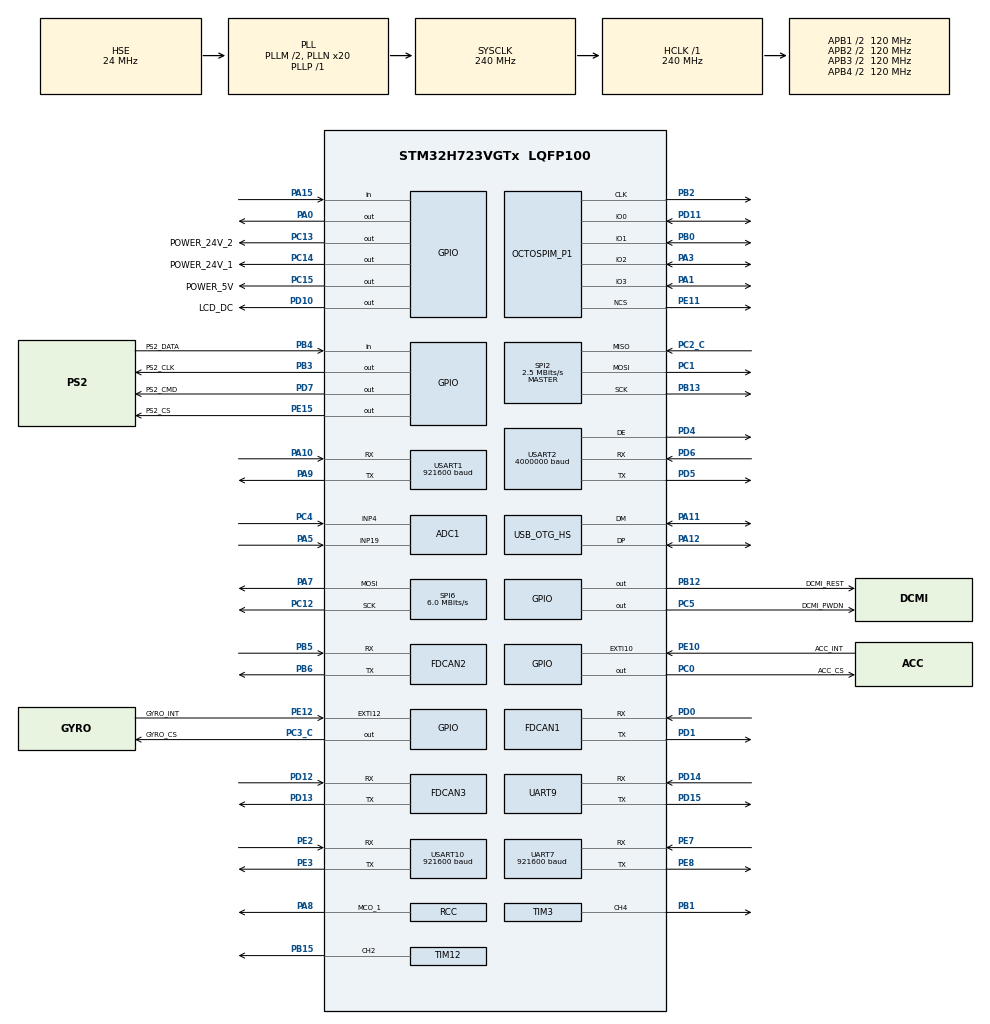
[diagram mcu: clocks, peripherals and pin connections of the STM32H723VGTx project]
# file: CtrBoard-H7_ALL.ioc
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ADC1.Channel-0\#ChannelRegularConversion=ADC_CHANNEL_4
ADC1.Channel-1\#ChannelRegularConversion=ADC_CHANNEL_19
ADC1.ClockPrescaler=ADC_CLOCK_ASYNC_DIV64
ADC1.ContinuousConvMode=ENABLE
ADC1.ConversionDataManagement=ADC_CONVERSIONDATA_DMA_CIRCULAR
ADC1.NbrOfConversion=2
ADC1.NbrOfConversionFlag=1
ADC1.OffsetNumber-0\#ChannelRegularConversion=ADC_OFFSET_NONE
ADC1.OffsetNumber-1\#ChannelRegularConversion=ADC_OFFSET_NONE
ADC1.OffsetSignedSaturation-0\#ChannelRegularConversion=DISABLE
ADC1.OffsetSignedSaturation-1\#ChannelRegularConversion=DISABLE
ADC1.Rank-0\#ChannelRegularConversion=1
ADC1.Rank-1\#ChannelRegularConversion=2
ADC1.SamplingTime-0\#ChannelRegularConversion=ADC_SAMPLETIME_32CYCLES_5
ADC1.SamplingTime-1\#ChannelRegularConversion=ADC_SAMPLETIME_32CYCLES_5
ADC1.master=1
CORTEX_M7.BaseAddress-Cortex_Memory_Protection_Unit_Region0_Settings=0x24000000
CORTEX_M7.CPU_DCache=Disabled
CORTEX_M7.CPU_ICache=Disabled
CORTEX_M7.Enable-Cortex_Memory_Protection_Unit_Region0_Settings=MPU_REGION_ENABLE
CORTEX_M7.IsBufferable-Cortex_Memory_Protection_Unit_Region0_Settings=MPU_ACCESS_BUFFERABLE
CORTEX_M7.IsCacheable-Cortex_Memory_Protection_Unit_Region0_Settings=MPU_ACCESS_CACHEABLE
CORTEX_M7.MPU_Control=__NULL
CORTEX_M7.Size-Cortex_Memory_Protection_Unit_Region0_Settings=MPU_REGION_SIZE_512B
CORTEX_M7.TypeExtField-Cortex_Memory_Protection_Unit_Region0_Settings=MPU_TEX_LEVEL1
Dma.ADC1.0.Direction=DMA_PERIPH_TO_MEMORY
Dma.ADC1.0.EventEnable=DISABLE
Dma.ADC1.0.FIFOMode=DMA_FIFOMODE_DISABLE
Dma.ADC1.0.Instance=DMA1_Stream1
Dma.ADC1.0.MemDataAlignment=DMA_MDATAALIGN_HALFWORD
Dma.ADC1.0.MemInc=DMA_MINC_ENABLE
Dma.ADC1.0.Mode=DMA_CIRCULAR
Dma.ADC1.0.PeriphDataAlignment=DMA_PDATAALIGN_HALFWORD
Dma.ADC1.0.PeriphInc=DMA_PINC_DISABLE
Dma.ADC1.0.Polarity=HAL_DMAMUX_REQ_GEN_RISING
Dma.ADC1.0.Priority=DMA_PRIORITY_LOW
Dma.ADC1.0.RequestNumber=1
Dma.ADC1.0.SignalID=NONE
Dma.ADC1.0.SyncEnable=DISABLE
Dma.ADC1.0.SyncPolarity=HAL_DMAMUX_SYNC_NO_EVENT
Dma.ADC1.0.SyncRequestNumber=1
Dma.ADC1.0.SyncSignalID=NONE
Dma.Request0=ADC1
Dma.Request1=USART2_TX
Dma.Request2=USART2_RX
Dma.USART2_RX.2.Direction=DMA_PERIPH_TO_MEMORY
Dma.USART2_RX.2.EventEnable=DISABLE
Dma.USART2_RX.2.FIFOMode=DMA_FIFOMODE_DISABLE
Dma.USART2_RX.2.Instance=DMA1_Stream2
Dma.USART2_RX.2.MemDataAlignment=DMA_MDATAALIGN_BYTE
Dma.USART2_RX.2.MemInc=DMA_MINC_ENABLE
Dma.USART2_RX.2.Mode=DMA_CIRCULAR
Dma.USART2_RX.2.PeriphDataAlignment=DMA_PDATAALIGN_BYTE
Dma.USART2_RX.2.PeriphInc=DMA_PINC_DISABLE
Dma.USART2_RX.2.Polarity=HAL_DMAMUX_REQ_GEN_RISING
Dma.USART2_RX.2.Priority=DMA_PRIORITY_VERY_HIGH
Dma.USART2_RX.2.RequestNumber=1
Dma.USART2_RX.2.SignalID=NONE
Dma.USART2_RX.2.SyncEnable=DISABLE
Dma.USART2_RX.2.SyncPolarity=HAL_DMAMUX_SYNC_NO_EVENT
Dma.USART2_RX.2.SyncRequestNumber=1
Dma.USART2_RX.2.SyncSignalID=NONE
Dma.USART2_TX.1.Direction=DMA_MEMORY_TO_PERIPH
Dma.USART2_TX.1.EventEnable=DISABLE
Dma.USART2_TX.1.FIFOMode=DMA_FIFOMODE_DISABLE
Dma.USART2_TX.1.Instance=DMA1_Stream0
Dma.USART2_TX.1.MemDataAlignment=DMA_MDATAALIGN_BYTE
Dma.USART2_TX.1.MemInc=DMA_MINC_ENABLE
Dma.USART2_TX.1.Mode=DMA_NORMAL
Dma.USART2_TX.1.PeriphDataAlignment=DMA_PDATAALIGN_BYTE
Dma.USART2_TX.1.PeriphInc=DMA_PINC_DISABLE
Dma.USART2_TX.1.Polarity=HAL_DMAMUX_REQ_GEN_RISING
Dma.USART2_TX.1.Priority=DMA_PRIORITY_VERY_HIGH
Dma.USART2_TX.1.RequestNumber=1
Dma.USART2_TX.1.SignalID=NONE
Dma.USART2_TX.1.SyncEnable=DISABLE
Dma.USART2_TX.1.SyncPolarity=HAL_DMAMUX_SYNC_NO_EVENT
Dma.USART2_TX.1.SyncRequestNumber=1
Dma.USART2_TX.1.SyncSignalID=NONE
FDCAN1.AutoRetransmission=DISABLE
FDCAN1.CalculateBaudRateNominal=1000000
FDCAN1.CalculateTimeBitNominal=1000
FDCAN1.CalculateTimeQuantumNominal=12.5
FDCAN1.DataPrescaler=3
FDCAN1.DataSyncJumpWidth=8
FDCAN1.DataTimeSeg1=31
FDCAN1.DataTimeSeg2=8
FDCAN1.ExtFiltersNbr=1
FDCAN1.NominalPrescaler=1
FDCAN1.NominalSyncJumpWidth=8
FDCAN1.NominalTimeSeg1=59
FDCAN1.NominalTimeSeg2=20
FDCAN1.ProtocolException=DISABLE
FDCAN1.RxBuffersNbr=0
FDCAN1.RxFifo0ElmtsNbr=32
FDCAN1.RxFifo1ElmtsNbr=32
FDCAN1.StdFiltersNbr=0
FDCAN1.TxBuffersNbr=0
FDCAN1.TxEventsNbr=0
FDCAN1.TxFifoQueueElmtsNbr=32
FDCAN2.CalculateBaudRateNominal=666666
FDCAN2.CalculateTimeBitNominal=1500
FDCAN2.CalculateTimeQuantumNominal=300.0
FDCAN2.MessageRAMOffset=0x406
FDCAN2.NominalPrescaler=24
FDCAN2.RxFifo0ElmtsNbr=32
FDCAN2.StdFiltersNbr=1
FDCAN2.TxFifoQueueElmtsNbr=32
FDCAN3.CalculateBaudRateNominal=1000000
FDCAN3.CalculateTimeBitNominal=1000
FDCAN3.CalculateTimeQuantumNominal=12.5
FDCAN3.DataPrescaler=3
FDCAN3.DataSyncJumpWidth=8
FDCAN3.DataTimeSeg1=31
FDCAN3.DataTimeSeg2=8
FDCAN3.ExtFiltersNbr=1
FDCAN3.MessageRAMOffset=0
FDCAN3.NominalPrescaler=1
FDCAN3.NominalSyncJumpWidth=8
FDCAN3.NominalTimeSeg1=59
FDCAN3.NominalTimeSeg2=20
FDCAN3.RxFifo0ElmtsNbr=32
FDCAN3.RxFifo1ElmtsNbr=32
FDCAN3.StdFiltersNbr=0
FDCAN3.TxFifoQueueElmtsNbr=32
FREERTOS.INCLUDE_eTaskGetState=1
FREERTOS.INCLUDE_uxTaskGetStackHighWaterMark=1
FREERTOS.INCLUDE_vTaskDelayUntil=1
FREERTOS.INCLUDE_xQueueGetMutexHolder=1
FREERTOS.INCLUDE_xTaskGetCurrentTaskHandle=1
FREERTOS.INCLUDE_xTimerPendFunctionCall=1
FREERTOS.Tasks01=defaultTask,0,128,StartDefaultTask,Default,NULL,Dynamic,NULL,NULL;SafeMonitorTask,2,128,SafeMonitorTask_Entry,As weak,NULL,Static,SafeMonitorBuffer,SafeMonitorControlBlock;LcdTask,0,256,LcdTask_Entry,As weak,NULL,Static,LcdTaskBuffer,LcdTaskControlBlock;ImuTask,0,2048,ImuTask_Entry,As weak,NULL,Static,ImuTaskBuffer,ImuTaskControlBlock;FunTest,-1,128,FunTest_Entry,As weak,NULL,Static,FunTestBuffer,FunTestControlBlock;MotorCommTask,2,4096,MotorCommTask_Entry,As weak,NULL,Static,MotorCommTaskBuffer,MotorCommTaskControlBlock;RgbTask,0,128,RgbTask_Entry,As weak,NULL,Static,RgbTaskBuffer,RgbTaskControlBlock;KinematicsTask,2,4096,KinematicsTask_Entry,As weak,NULL,Static,KinematicsTaskBuffer,KinematicsTaskControlBlock
FREERTOS.configENABLE_FPU=1
FREERTOS.configUSE_COUNTING_SEMAPHORES=1
FREERTOS.configUSE_RECURSIVE_MUTEXES=1
FREERTOS.configUSE_TIMERS=1
FREERTOS.configUSE_TRACE_FACILITY=1
Mcu.Family=STM32H7
Mcu.Name=STM32H723VGTx
Mcu.Package=LQFP100
NVIC.DMA1_Stream0_IRQn=true\:5\:0\:false\:false\:true\:false\:false\:true\:true
NVIC.DMA1_Stream1_IRQn=true\:5\:0\:false\:false\:true\:true\:false\:true\:true
NVIC.DMA1_Stream2_IRQn=true\:5\:0\:false\:false\:true\:true\:false\:true\:true
NVIC.FDCAN1_IT0_IRQn=true\:5\:0\:false\:false\:true\:true\:true\:true\:true
NVIC.FDCAN1_IT1_IRQn=true\:5\:0\:false\:false\:true\:true\:true\:true\:true
NVIC.FDCAN2_IT0_IRQn=true\:5\:0\:false\:false\:true\:true\:true\:true\:true
NVIC.FDCAN2_IT1_IRQn=true\:5\:0\:false\:false\:true\:true\:true\:true\:true
NVIC.FDCAN3_IT0_IRQn=true\:5\:0\:false\:false\:true\:true\:true\:true\:true
NVIC.FDCAN3_IT1_IRQn=true\:5\:0\:false\:false\:true\:true\:true\:true\:true
NVIC.OTG_HS_IRQn=true\:5\:0\:false\:false\:true\:true\:false\:true\:true
NVIC.PriorityGroup=NVIC_PRIORITYGROUP_4
NVIC.TIM23_IRQn=true\:15\:0\:false\:false\:true\:false\:false\:true\:true
NVIC.TimeBase=TIM23_IRQn
NVIC.TimeBaseIP=TIM23
NVIC.UART7_IRQn=true\:5\:0\:true\:false\:true\:false\:true\:true\:true
NVIC.USART10_IRQn=true\:5\:0\:true\:false\:true\:false\:true\:true\:true
NVIC.USART1_IRQn=true\:5\:0\:true\:false\:true\:false\:true\:true\:true
NVIC.USART2_IRQn=true\:5\:0\:false\:false\:true\:true\:true\:true\:true
OCTOSPI2.ClockMode=HAL_OSPI_CLOCK_MODE_3
OCTOSPI2.ClockPrescaler=3
OCTOSPI2.DeviceSize=23
OCTOSPI2.DeviceType=SPI_DEVICE_FLASH
OCTOSPI2.FifoThreshold=8
OCTOSPI2.SampleShifting=HAL_OSPI_SAMPLE_SHIFTING_HALFCYCLE
PA0.GPIO_Speed=GPIO_SPEED_FREQ_VERY_HIGH
PA0.Signal=GPIO_Output
PA1.Mode=OCTOSPI2_IOL_Port1L
PA1.Signal=OCTOSPIM_P1_IO3
PA10.Mode=Asynchronous
PA10.Signal=USART1_RX
PA11.Mode=Device_Only_FS
PA11.Signal=USB_OTG_HS_DM
PA12.Mode=Device_Only_FS
PA12.Signal=USB_OTG_HS_DP
PA13(JTMS/SWDIO).Mode=Serial_Wire
PA13(JTMS/SWDIO).Signal=DEBUG_JTMS-SWDIO
PA14(JTCK/SWCLK).Mode=Serial_Wire
PA14(JTCK/SWCLK).Signal=DEBUG_JTCK-SWCLK
PA15(JTDI).Signal=GPIO_Input
PA3.Mode=OCTOSPI2_IOL_Port1L
PA3.Signal=OCTOSPIM_P1_IO2
PA5.Signal=ADCx_INP19
PA7.Mode=TX_Only_Simplex_Unidirect_Master
PA7.Signal=SPI6_MOSI
PA8.Mode=Clock-out-1
PA8.Signal=RCC_MCO_1
PA9.Mode=Asynchronous
PA9.Signal=USART1_TX
PB0.Mode=OCTOSPI2_IOL_Port1L
PB0.Signal=OCTOSPIM_P1_IO1
PB1.Signal=S_TIM3_CH4
PB12.GPIO_Label=DCMI_REST
PB12.GPIO_PuPd=GPIO_PULLUP
PB12.GPIO_Speed=GPIO_SPEED_FREQ_VERY_HIGH
PB12.PinState=GPIO_PIN_SET
PB12.Signal=GPIO_Output
PB13.GPIO_Speed=GPIO_SPEED_FREQ_VERY_HIGH
PB13.Mode=Full_Duplex_Master
PB13.Signal=SPI2_SCK
PB15.Signal=S_TIM12_CH2
PB2.Mode=O2_P1_CLK
PB2.Signal=OCTOSPIM_P1_CLK
PB3(JTDO/TRACESWO).GPIO_Label=PS2_CLK
PB3(JTDO/TRACESWO).GPIO_PuPd=GPIO_PULLUP
PB3(JTDO/TRACESWO).GPIO_Speed=GPIO_SPEED_FREQ_VERY_HIGH
PB3(JTDO/TRACESWO).Signal=GPIO_Output
PB4(NJTRST).GPIO_Label=PS2_DATA
PB4(NJTRST).GPIO_PuPd=GPIO_PULLDOWN
PB4(NJTRST).Signal=GPIO_Input
PB5.Mode=FDCAN_Activate
PB5.Signal=FDCAN2_RX
PB6.Mode=FDCAN_Activate
PB6.Signal=FDCAN2_TX
PC0.GPIO_Label=ACC_CS
PC0.GPIO_Speed=GPIO_SPEED_FREQ_VERY_HIGH
PC0.PinState=GPIO_PIN_SET
PC0.Signal=GPIO_Output
PC1.GPIO_Speed=GPIO_SPEED_FREQ_VERY_HIGH
PC1.Mode=Full_Duplex_Master
PC1.Signal=SPI2_MOSI
PC12.Mode=TX_Only_Simplex_Unidirect_Master
PC12.Signal=SPI6_SCK
PC13.GPIO_Label=POWER_24V_2
PC13.PinState=GPIO_PIN_RESET
PC13.Signal=GPIO_Output
PC14-OSC32_IN.GPIO_Label=POWER_24V_1
PC14-OSC32_IN.PinState=GPIO_PIN_RESET
PC14-OSC32_IN.Signal=GPIO_Output
PC15-OSC32_OUT.GPIO_Label=POWER_5V
PC15-OSC32_OUT.PinState=GPIO_PIN_RESET
PC15-OSC32_OUT.Signal=GPIO_Output
PC2_C.GPIO_Speed=GPIO_SPEED_FREQ_VERY_HIGH
PC2_C.Mode=Full_Duplex_Master
PC2_C.Signal=SPI2_MISO
PC3_C.GPIO_Label=GYRO_CS
PC3_C.GPIO_Speed=GPIO_SPEED_FREQ_VERY_HIGH
PC3_C.PinState=GPIO_PIN_SET
PC3_C.Signal=GPIO_Output
PC4.Signal=ADCx_INP4
PC5.GPIO_Label=DCMI_PWDN
PC5.GPIO_PuPd=GPIO_NOPULL
PC5.GPIO_Speed=GPIO_SPEED_FREQ_VERY_HIGH
PC5.PinState=GPIO_PIN_SET
PC5.Signal=GPIO_Output
PD0.Mode=FDCAN_Activate
PD0.Signal=FDCAN1_RX
PD1.Mode=FDCAN_Activate
PD1.Signal=FDCAN1_TX
PD10.GPIO_Label=LCD_DC
PD10.Signal=GPIO_Output
PD11.Mode=OCTOSPI2_IOL_Port1L
PD11.Signal=OCTOSPIM_P1_IO0
PD12.Mode=FDCAN_Activate
PD12.Signal=FDCAN3_RX
PD13.Mode=FDCAN_Activate
PD13.Signal=FDCAN3_TX
PD14.Mode=Asynchronous
PD14.Signal=UART9_RX
PD15.Mode=Asynchronous
PD15.Signal=UART9_TX
PD4.Mode=Hardware Flow Control (RS485)
PD4.Signal=USART2_DE
PD5.Mode=Asynchronous
PD5.Signal=USART2_TX
PD6.Mode=Asynchronous
PD6.Signal=USART2_RX
PD7.GPIO_Label=PS2_CMD
PD7.GPIO_PuPd=GPIO_PULLUP
PD7.GPIO_Speed=GPIO_SPEED_FREQ_VERY_HIGH
PD7.Signal=GPIO_Output
PE10.GPIO_Label=ACC_INT
PE10.Signal=GPXTI10
PE11.Mode=OCTOSPI2_Port1_NCS
PE11.Signal=OCTOSPIM_P1_NCS
PE12.GPIO_Label=GYRO_INT
PE12.Signal=GPXTI12
PE15.GPIO_Label=PS2_CS
PE15.GPIO_PuPd=GPIO_PULLUP
PE15.GPIO_Speed=GPIO_SPEED_FREQ_VERY_HIGH
PE15.Signal=GPIO_Output
PE2.Mode=Asynchronous
PE2.Signal=USART10_RX
PE3.Mode=Asynchronous
PE3.Signal=USART10_TX
PE7.Mode=Asynchronous
PE7.Signal=UART7_RX
PE8.Mode=Asynchronous
PE8.Signal=UART7_TX
PH0-OSC_IN.Mode=HSE-External-Oscillator
PH0-OSC_IN.Signal=RCC_OSC_IN
PH1-OSC_OUT.Mode=HSE-External-Oscillator
PH1-OSC_OUT.Signal=RCC_OSC_OUT
ProjectManager.HeapSize=0x200
ProjectManager.StackSize=0x800
ProjectManager.TargetToolchain=MDK-ARM V5.27
RCC.ADCFreq_Value=48000000
RCC.APB1Freq_Value=120000000
RCC.APB2Freq_Value=120000000
RCC.APB3Freq_Value=120000000
RCC.APB4Freq_Value=120000000
RCC.CortexFreq_Value=240000000
RCC.D1PPRE=RCC_APB3_DIV2
RCC.D2PPRE1=RCC_APB1_DIV2
RCC.D2PPRE2=RCC_APB2_DIV2
RCC.D3PPRE=RCC_APB4_DIV2
RCC.DIVM1=2
RCC.DIVM2=2
RCC.DIVN1=20
RCC.DIVN2=16
RCC.DIVP1=1
RCC.DIVP2=4
RCC.DIVQ1=3
RCC.EnbaleCSS=false
RCC.HCLKFreq_Value=240000000
RCC.HSE_VALUE=24000000
RCC.PLL2FRACN=0
RCC.PLL2_VCI_Range-AdvancedSettings=RCC_PLL2VCIRANGE_0
RCC.PLL2_VCO_SEL-AdvancedSettings=RCC_PLL2VCOWIDE
RCC.PLL3FRACN=0
RCC.PLL3_VCO_SEL-AdvancedSettings=RCC_PLL3VCOMEDIUM
RCC.PLLFRACN=0
RCC.PLLSourceVirtual=RCC_PLLSOURCE_HSE
RCC.SPI6CLockSelection=RCC_SPI6CLKSOURCE_HSE
RCC.SYSCLKFreq_VALUE=240000000
RCC.SYSCLKSource=RCC_SYSCLKSOURCE_PLLCLK
RCC.USBCLockSelection=RCC_USBCLKSOURCE_HSI48
RCC.USBFreq_Value=48000000
SH.ADCx_INP19.0=ADC1_INP19,IN19-Single-Ended
SH.ADCx_INP4.0=ADC1_INP4,IN4-Single-Ended
SH.S_TIM12_CH2.0=TIM12_CH2,PWM Generation2 CH2
SH.S_TIM3_CH4.0=TIM3_CH4,PWM Generation4 CH4
SPI2.BaudRatePrescaler=SPI_BAUDRATEPRESCALER_32
SPI2.CLKPhase=SPI_PHASE_2EDGE
SPI2.CLKPolarity=SPI_POLARITY_HIGH
SPI2.CalculateBaudRate=2.5 MBits/s
SPI2.DataSize=SPI_DATASIZE_8BIT
SPI2.Direction=SPI_DIRECTION_2LINES
SPI2.Mode=SPI_MODE_MASTER
SPI2.VirtualType=VM_MASTER
SPI6.BaudRatePrescaler=SPI_BAUDRATEPRESCALER_4
SPI6.CLKPhase=SPI_PHASE_2EDGE
SPI6.CalculateBaudRate=6.0 MBits/s
SPI6.DataSize=SPI_DATASIZE_8BIT
SPI6.Direction=SPI_DIRECTION_2LINES_TXONLY
SPI6.Mode=SPI_MODE_MASTER
SPI6.VirtualType=VM_MASTER
STMicroelectronics.X-CUBE-ALGOBUILD.1.4.0.LibraryCcDSPOoLibraryJjDSPOoLibrary=true
TIM12.Channel-PWM\ Generation2\ CH2=TIM_CHANNEL_2
TIM12.Period=2000-1
TIM12.Prescaler=24-1
TIM3.AutoReloadPreload=TIM_AUTORELOAD_PRELOAD_ENABLE
TIM3.Channel-PWM\ Generation4\ CH4=TIM_CHANNEL_4
TIM3.Period=10000-1
TIM3.Prescaler=24-1
UART7.BaudRate=921600
USART1.BaudRate=921600
USART1.VirtualMode-Asynchronous=VM_ASYNC
USART10.BaudRate=921600
USART10.VirtualMode=VM_ASYNC
USART2.AutoBaudRateEnableParam=UART_ADVFEATURE_AUTOBAUDRATE_DISABLE
USART2.BaudRate=4000000
USART2.VirtualMode-Asynchronous=VM_ASYNC
USART2.VirtualMode-Hardware\ Flow\ Control\ (RS485)=VM_ASYNC
USB_DEVICE.CLASS_NAME_HS=CDC
USB_DEVICE.VirtualMode=Cdc
USB_DEVICE.VirtualModeHS=Cdc_HS
USB_OTG_HS.VirtualMode-Device_Only_FS=Device_Only_FS
VP_FREERTOS_VS_CMSIS_V1.Mode=CMSIS_V1
VP_MEMORYMAP_VS_MEMORYMAP.Mode=CurAppReg
VP_OCTOSPI2_VS_quad.Mode=quad_mode
VP_STMicroelectronics.X-CUBE-ALGOBUILD_VS_DSPOoLibraryJjLibrary_1.4.0_1.4.0.Mode=DSPOoLibraryJjLibrary
VP_SYS_VS_tim23.Mode=TIM23
VP_USB_DEVICE_VS_USB_DEVICE_CDC_HS.Mode=CDC_HS
board=custom

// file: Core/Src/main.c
/* USER CODE BEGIN Header */
/**
  ******************************************************************************
  * @file           : main.c
  * @brief          : Main program body
  ******************************************************************************
  * @attention
  *
  * Copyright (c) 2024 STMicroelectronics.
  * All rights reserved.
  *
  * This software is licensed under terms that can be found in the LICENSE file
  * in the root directory of this software component.
  * If no LICENSE file comes with this software, it is provided AS-IS.
  *
  ******************************************************************************
  */
/* USER CODE END Header */
#include "main.h"
#include "cmsis_os.h"
#include "adc.h"
#include "dma.h"
#include "fdcan.h"
#include "memorymap.h"
#include "octospi.h"
#include "spi.h"
#include "tim.h"
#include "usart.h"
#include "usb_device.h"
#include "gpio.h"

/* USER CODE BEGIN Includes */
#include "vofa.h"
#include "w25q64.h"
#include <stdio.h>
#include "arm_math.h"
/* USER CODE END Includes */

/* USER CODE BEGIN PV */
#define W25Qxx_NumByteToTest   	32*1024					// 测试数据的长度，32K

int32_t OSPI_Status ; 		 //检测标志位

uint8_t  W25Qxx_WriteBuffer[W25Qxx_NumByteToTest];		//	写数据数组
uint8_t  W25Qxx_ReadBuffer[W25Qxx_NumByteToTest];		//	读数据数组
/* USER CODE END PV */

void SystemClock_Config(void);
void MX_FREERTOS_Init(void);

/* USER CODE BEGIN 0 */
/***************************************************************************************************
*	函 数 名: OSPI_W25Qxx_Test
*	入口参数: 无
*	返 回 值: OSPI_W25Qxx_OK - 测试成功并通过
*	函数功能: 进行简单的读写测试，并计算速度
*	说    明: 无
***************************************************************************************************/

int8_t OSPI_W25Qxx_Test(void)		//Flash读写测试
{
    uint32_t i = 0X8000;	// 计数变量
    uint32_t W25Qxx_TestAddr  =	0	;							// 测试地址
    uint32_t ExecutionTime_Begin;		// 开始时间
    uint32_t ExecutionTime_End;		// 结束时间
    uint32_t ExecutionTime;				// 执行时间
    float    ExecutionSpeed;			// 执行速度

// 擦除 >>>>>>>>>>>>>>>>>>>>>>>>>>>>>>>>>>>>>>>>>>>>>>>>>>>>>>>>>>>>>>>>>>>>>>>>>>>>>>>>>>>>>>

    ExecutionTime_Begin 	= HAL_GetTick();	// 获取 systick 当前时间，单位ms
    OSPI_Status 			= OSPI_W25Qxx_BlockErase_32K(W25Qxx_TestAddr);	// 擦除32K字节
    ExecutionTime_End		= HAL_GetTick();	// 获取 systick 当前时间，单位ms

    ExecutionTime = ExecutionTime_End - ExecutionTime_Begin; // 计算擦除时间，单位ms

    if( OSPI_Status == OSPI_W25Qxx_OK )
    {
        printf ("\r\nW25Q64 erase succeed, time: %d ms\r\n",ExecutionTime);
    }
    else
    {
        printf ("\r\n erase error!!!!!  ERROR CODE:%d\r\n",OSPI_Status);
        while (1);
    }

// 写入 >>>>>>>>>>>>>>>>>>>>>>>>>>>>>>>>>>>>>>>>>>>>>>>>>>>>>>>>>>>>>>>>>>>>>>>>>>>>>>>>>>>>>>

    for(i=0;i<W25Qxx_NumByteToTest;i++)  //先将数据写入数组
    {
        W25Qxx_WriteBuffer[i] = i;
    }
    ExecutionTime_Begin 	= HAL_GetTick();	// 获取 systick 当前时间，单位ms
    OSPI_Status				= OSPI_W25Qxx_WriteBuffer(W25Qxx_WriteBuffer,W25Qxx_TestAddr,W25Qxx_NumByteToTest); // 写入数据
    ExecutionTime_End		= HAL_GetTick();	// 获取 systick 当前时间，单位ms

    ExecutionTime  = ExecutionTime_End - ExecutionTime_Begin; 		// 计算擦除时间，单位ms
    ExecutionSpeed = (float)W25Qxx_NumByteToTest / ExecutionTime ; // 计算写入速度，单位 KB/S
    if( OSPI_Status == OSPI_W25Qxx_OK )
    {
        printf ("\r\nwrite succeed, data size: %d KB, time: %d ms, speed: %.2f KB/s\r\n",W25Qxx_NumByteToTest/1024,ExecutionTime,ExecutionSpeed);
    }
    else
    {
        printf ("\r\nwrite error!!!!!  error code: %d\r\n",OSPI_Status);
        while (1);
    }

// 读取	>>>>>>>>>>>>>>>>>>>>>>>>>>>>>>>>>>>>>>>>>>>>>>>>>>>>>>>>>>>>>>>>>>>>>>>>>>>>>>>>>>>>>>

    ExecutionTime_Begin 	= HAL_GetTick();	// 获取 systick 当前时间，单位ms
    OSPI_Status				= OSPI_W25Qxx_ReadBuffer(W25Qxx_ReadBuffer,W25Qxx_TestAddr,W25Qxx_NumByteToTest);	// 读取数据
    ExecutionTime_End		= HAL_GetTick();	// 获取 systick 当前时间，单位ms

    ExecutionTime  = ExecutionTime_End - ExecutionTime_Begin; 					// 计算擦除时间，单位ms
    ExecutionSpeed = (float)W25Qxx_NumByteToTest/1024/1024 / ExecutionTime*1000 ; 	// 计算读取速度，单位 MB/S

    if( OSPI_Status == OSPI_W25Qxx_OK )
    {
        printf ("\r\nread succeed, size: %d KB, time: %d ms, speed: %.2f MB/s \r\n",W25Qxx_NumByteToTest/1024,ExecutionTime,ExecutionSpeed);
    }
    else
    {
        printf ("\r\nread error!!!!!  error code:%d\r\n",OSPI_Status);
        while (1);
    }
// 数据校验 >>>>>>>>>>>>>>>>>>>>>>>>>>>>>>>>>>>>>>>>>>>>>>>>>>>>>>>>>>>>>>>>>>>>>>>>>>>>>>>>>>>>>>

    for(i=0;i<W25Qxx_NumByteToTest;i++)	//验证读出的数据是否等于写入的数据
    {
        if( W25Qxx_WriteBuffer[i] != W25Qxx_ReadBuffer[i] )	//如果数据不相等，则返回0
        {
            printf ("\r\ndata check error!!!!!pos: %d\r\n",i);
            while(1);
        }
    }
    printf ("\r\ncheck pass!!!!!\r\n");

// 读取整片Flash的数据，用以测试速度 >>>>>>>>>>>>>>>>>>>>>>>>>>>>>>>>>>>>>>>>>>>>>>>>>>>>>>>>>>>>>>

    printf ("\r\n*****************************************************************************************************\r\n");
    printf ("\r\nIn the above test, the data read is relatively small and takes a short time. In addition, the minimum unit of measurement is ms, and the calculated reading speed has a large error.\r\n");
    printf ("\r\nNext, read the entire flash data to test the speed. The speed error obtained in this way is relatively small.\r\n");
    printf ("\r\nread start>>>>\r\n");
    ExecutionTime_Begin 	= HAL_GetTick();	// 获取 systick 当前时间，单位ms

    for(i=0;i<W25Qxx_FlashSize/(W25Qxx_NumByteToTest);i++)	// 每次读取 W25Qxx_NumByteToTest 字节的数据
    {
        OSPI_Status     = OSPI_W25Qxx_ReadBuffer(W25Qxx_ReadBuffer,W25Qxx_TestAddr,W25Qxx_NumByteToTest);	// 读取数据
        W25Qxx_TestAddr = W25Qxx_TestAddr + W25Qxx_NumByteToTest;
    }
    ExecutionTime_End   = HAL_GetTick();	// 获取 systick 当前时间，单位ms

    ExecutionTime       = ExecutionTime_End - ExecutionTime_Begin; 								// 计算擦除时间，单位ms
    ExecutionSpeed      = (float)W25Qxx_FlashSize/1024/1024 / ExecutionTime*1000  ; 	// 计算读取速度，单位 MB/S

    if( OSPI_Status == OSPI_W25Qxx_OK )
    {
        printf ("\r\nread succeed, size: %d MB, time: %d ms, speed: %.2f MB/s \r\n",W25Qxx_FlashSize/1024/1024,ExecutionTime,ExecutionSpeed);
    }
    else
    {
        printf ("\r\nread error!!!!!  error code:%d\r\n",OSPI_Status);
        while (1);
    }

    return OSPI_W25Qxx_OK ;  // 测试通过

}
/* USER CODE END 0 */

int main(void)
{

  /* MCU Configuration--------------------------------------------------------*/

  /* Reset of all peripherals, Initializes the Flash interface and the Systick. */
  HAL_Init();

  /* Configure the system clock */
  SystemClock_Config();

  /* Initialize all configured peripherals */
  MX_GPIO_Init();
  MX_DMA_Init();
  MX_ADC1_Init();
  MX_TIM12_Init();
  MX_SPI6_Init();
  MX_SPI2_Init();
  MX_TIM3_Init();
  MX_USART1_UART_Init();
  MX_USART2_UART_Init();
  MX_UART7_Init();
  MX_USART10_UART_Init();
  MX_FDCAN1_Init();
  MX_FDCAN2_Init();
  MX_FDCAN3_Init();
  MX_OCTOSPI2_Init();
  MX_UART9_Init();
  /* USER CODE BEGIN 2 */
//    OSPI_W25Qxx_Init();     // 初始化OSPI和W25Q64
//
//    OSPI_W25Qxx_Test();     // Flash读写测试
  /* USER CODE END 2 */

  /* Call init function for freertos objects (in cmsis_os2.c) */
  MX_FREERTOS_Init();

  /* Start scheduler */
  osKernelStart();

  /* We should never get here as control is now taken by the scheduler */

  /* Infinite loop */
  /* USER CODE BEGIN WHILE */
  while (1)
  {
//	  vofa_start();

    /* USER CODE END WHILE */

  }
}

void SystemClock_Config(void)
{
  RCC_OscInitTypeDef RCC_OscInitStruct = {0};
  RCC_ClkInitTypeDef RCC_ClkInitStruct = {0};

  /** Supply configuration update enable
  */
  HAL_PWREx_ConfigSupply(PWR_LDO_SUPPLY);

  /** Configure the main internal regulator output voltage
  */
  __HAL_PWR_VOLTAGESCALING_CONFIG(PWR_REGULATOR_VOLTAGE_SCALE0);

  while(!__HAL_PWR_GET_FLAG(PWR_FLAG_VOSRDY)) {}

  /** Initializes the RCC Oscillators according to the specified parameters
  * in the RCC_OscInitTypeDef structure.
  */
  RCC_OscInitStruct.OscillatorType = RCC_OSCILLATORTYPE_HSI48|RCC_OSCILLATORTYPE_HSI
                              |RCC_OSCILLATORTYPE_HSE;
  RCC_OscInitStruct.HSEState = RCC_HSE_ON;
  RCC_OscInitStruct.HSIState = RCC_HSI_DIV1;
  RCC_OscInitStruct.HSICalibrationValue = 64;
  RCC_OscInitStruct.HSI48State = RCC_HSI48_ON;
  RCC_OscInitStruct.PLL.PLLState = RCC_PLL_ON;
  RCC_OscInitStruct.PLL.PLLSource = RCC_PLLSOURCE_HSE;
  RCC_OscInitStruct.PLL.PLLM = 2;
  RCC_OscInitStruct.PLL.PLLN = 20;
  RCC_OscInitStruct.PLL.PLLP = 1;
  RCC_OscInitStruct.PLL.PLLQ = 3;
  RCC_OscInitStruct.PLL.PLLR = 2;
  RCC_OscInitStruct.PLL.PLLRGE = RCC_PLL1VCIRANGE_3;
  RCC_OscInitStruct.PLL.PLLVCOSEL = RCC_PLL1VCOWIDE;
  RCC_OscInitStruct.PLL.PLLFRACN = 0;
  if (HAL_RCC_OscConfig(&RCC_OscInitStruct) != HAL_OK)
  {
    Error_Handler();
  }

  /** Initializes the CPU, AHB and APB buses clocks
  */
  RCC_ClkInitStruct.ClockType = RCC_CLOCKTYPE_HCLK|RCC_CLOCKTYPE_SYSCLK
                              |RCC_CLOCKTYPE_PCLK1|RCC_CLOCKTYPE_PCLK2
                              |RCC_CLOCKTYPE_D3PCLK1|RCC_CLOCKTYPE_D1PCLK1;
  RCC_ClkInitStruct.SYSCLKSource = RCC_SYSCLKSOURCE_PLLCLK;
  RCC_ClkInitStruct.SYSCLKDivider = RCC_SYSCLK_DIV1;
  RCC_ClkInitStruct.AHBCLKDivider = RCC_HCLK_DIV1;
  RCC_ClkInitStruct.APB3CLKDivider = RCC_APB3_DIV2;
  RCC_ClkInitStruct.APB1CLKDivider = RCC_APB1_DIV2;
  RCC_ClkInitStruct.APB2CLKDivider = RCC_APB2_DIV2;
  RCC_ClkInitStruct.APB4CLKDivider = RCC_APB4_DIV2;

  if (HAL_RCC_ClockConfig(&RCC_ClkInitStruct, FLASH_LATENCY_3) != HAL_OK)
  {
    Error_Handler();
  }
  HAL_RCC_MCOConfig(RCC_MCO1, RCC_MCO1SOURCE_HSI, RCC_MCODIV_1);
}

void HAL_TIM_PeriodElapsedCallback(TIM_HandleTypeDef *htim)
{
  if (htim->Instance == TIM23) {
    HAL_IncTick();
  }
}

void Error_Handler(void)
{
  __disable_irq();
  while (1)
  {
  }
}

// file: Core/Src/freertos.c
/* USER CODE BEGIN Header */
/**
  ******************************************************************************
  * File Name          : freertos.c
  * Description        : Code for freertos applications
  ******************************************************************************
  * @attention
  *
  * Copyright (c) 2024 STMicroelectronics.
  * All rights reserved.
  *
  * This software is licensed under terms that can be found in the LICENSE file
  * in the root directory of this software component.
  * If no LICENSE file comes with this software, it is provided AS-IS.
  *
  ******************************************************************************
  */
/* USER CODE END Header */

#include "FreeRTOS.h"
#include "task.h"
#include "main.h"
#include "cmsis_os.h"

/* USER CODE BEGIN Includes */
#include "dma.h"
/* USER CODE END Includes */

osThreadId defaultTaskHandle;
osThreadId SafeMonitorTaskHandle;
uint32_t SafeMonitorBuffer[ 128 ];
osStaticThreadDef_t SafeMonitorControlBlock;
osThreadId LcdTaskHandle;
uint32_t LcdTaskBuffer[ 256 ];
osStaticThreadDef_t LcdTaskControlBlock;
osThreadId ImuTaskHandle;
uint32_t ImuTaskBuffer[ 2048 ];
osStaticThreadDef_t ImuTaskControlBlock;
osThreadId FunTestHandle;
uint32_t FunTestBuffer[ 128 ];
osStaticThreadDef_t FunTestControlBlock;
osThreadId MotorCommTaskHandle;
uint32_t MotorCommTaskBuffer[ 4096 ];
osStaticThreadDef_t MotorCommTaskControlBlock;
osThreadId RgbTaskHandle;
uint32_t RgbTaskBuffer[ 128 ];
osStaticThreadDef_t RgbTaskControlBlock;
osThreadId KinematicsTaskHandle;
uint32_t KinematicsTaskBuffer[ 4096 ];
osStaticThreadDef_t KinematicsTaskControlBlock;

void StartDefaultTask(void const * argument);
void SafeMonitorTask_Entry(void const * argument);
void LcdTask_Entry(void const * argument);
void ImuTask_Entry(void const * argument);
void FunTest_Entry(void const * argument);
void MotorCommTask_Entry(void const * argument);
void RgbTask_Entry(void const * argument);
void KinematicsTask_Entry(void const * argument);

extern void MX_USB_DEVICE_Init(void);
void MX_FREERTOS_Init(void); /* (MISRA C 2004 rule 8.1) */

/* GetIdleTaskMemory prototype (linked to static allocation support) */
void vApplicationGetIdleTaskMemory( StaticTask_t **ppxIdleTaskTCBBuffer, StackType_t **ppxIdleTaskStackBuffer, uint32_t *pulIdleTaskStackSize );

/* GetTimerTaskMemory prototype (linked to static allocation support) */
void vApplicationGetTimerTaskMemory( StaticTask_t **ppxTimerTaskTCBBuffer, StackType_t **ppxTimerTaskStackBuffer, uint32_t *pulTimerTaskStackSize );

/* USER CODE BEGIN GET_IDLE_TASK_MEMORY */
static StaticTask_t xIdleTaskTCBBuffer;
static StackType_t xIdleStack[configMINIMAL_STACK_SIZE];

void vApplicationGetIdleTaskMemory( StaticTask_t **ppxIdleTaskTCBBuffer, StackType_t **ppxIdleTaskStackBuffer, uint32_t *pulIdleTaskStackSize )
{
  *ppxIdleTaskTCBBuffer = &xIdleTaskTCBBuffer;
  *ppxIdleTaskStackBuffer = &xIdleStack[0];
  *pulIdleTaskStackSize = configMINIMAL_STACK_SIZE;
  /* place for user code */
}
/* USER CODE END GET_IDLE_TASK_MEMORY */

/* USER CODE BEGIN GET_TIMER_TASK_MEMORY */
static StaticTask_t xTimerTaskTCBBuffer;
static StackType_t xTimerStack[configTIMER_TASK_STACK_DEPTH];

void vApplicationGetTimerTaskMemory( StaticTask_t **ppxTimerTaskTCBBuffer, StackType_t **ppxTimerTaskStackBuffer, uint32_t *pulTimerTaskStackSize )
{
  *ppxTimerTaskTCBBuffer = &xTimerTaskTCBBuffer;
  *ppxTimerTaskStackBuffer = &xTimerStack[0];
  *pulTimerTaskStackSize = configTIMER_TASK_STACK_DEPTH;
  /* place for user code */
}
/* USER CODE END GET_TIMER_TASK_MEMORY */

void MX_FREERTOS_Init(void) {
  /* USER CODE BEGIN Init */
  // 创建二进制信号量
  uart_tx_semaphore = xSemaphoreCreateBinary();
  uart_rx_semaphore = xSemaphoreCreateBinary();

  /* USER CODE END Init */

  /* Create the thread(s) */
  /* definition and creation of defaultTask */
  osThreadDef(defaultTask, StartDefaultTask, osPriorityNormal, 0, 128);
  defaultTaskHandle = osThreadCreate(osThread(defaultTask), NULL);

  /* definition and creation of SafeMonitorTask */
  osThreadStaticDef(SafeMonitorTask, SafeMonitorTask_Entry, osPriorityHigh, 0, 128, SafeMonitorBuffer, &SafeMonitorControlBlock);
  SafeMonitorTaskHandle = osThreadCreate(osThread(SafeMonitorTask), NULL);

  /* definition and creation of LcdTask */
  osThreadStaticDef(LcdTask, LcdTask_Entry, osPriorityNormal, 0, 256, LcdTaskBuffer, &LcdTaskControlBlock);
  LcdTaskHandle = osThreadCreate(osThread(LcdTask), NULL);

  /* definition and creation of ImuTask */
  osThreadStaticDef(ImuTask, ImuTask_Entry, osPriorityNormal, 0, 2048, ImuTaskBuffer, &ImuTaskControlBlock);
  ImuTaskHandle = osThreadCreate(osThread(ImuTask), NULL);

  /* definition and creation of FunTest */
  osThreadStaticDef(FunTest, FunTest_Entry, osPriorityBelowNormal, 0, 128, FunTestBuffer, &FunTestControlBlock);
  FunTestHandle = osThreadCreate(osThread(FunTest), NULL);

  /* definition and creation of MotorCommTask */
  osThreadStaticDef(MotorCommTask, MotorCommTask_Entry, osPriorityHigh, 0, 4096, MotorCommTaskBuffer, &MotorCommTaskControlBlock);
  MotorCommTaskHandle = osThreadCreate(osThread(MotorCommTask), NULL);

  /* definition and creation of RgbTask */
  osThreadStaticDef(RgbTask, RgbTask_Entry, osPriorityNormal, 0, 128, RgbTaskBuffer, &RgbTaskControlBlock);
  RgbTaskHandle = osThreadCreate(osThread(RgbTask), NULL);

  /* definition and creation of KinematicsTask */
  osThreadStaticDef(KinematicsTask, KinematicsTask_Entry, osPriorityHigh, 0, 4096, KinematicsTaskBuffer, &KinematicsTaskControlBlock);
  KinematicsTaskHandle = osThreadCreate(osThread(KinematicsTask), NULL);

}

void StartDefaultTask(void const * argument)
{
  /* init code for USB_DEVICE */
  MX_USB_DEVICE_Init();
  for(;;)
  {
    osDelay(1);
  }
}

__weak void SafeMonitorTask_Entry(void const * argument)
{
  for(;;)
  {
    osDelay(1);
  }
}

__weak void LcdTask_Entry(void const * argument)
{
  for(;;)
  {
    osDelay(1);
  }
}

__weak void ImuTask_Entry(void const * argument)
{
  for(;;)
  {
    osDelay(1);
  }
}

__weak void FunTest_Entry(void const * argument)
{
  for(;;)
  {
    osDelay(1);
  }
}

__weak void MotorCommTask_Entry(void const * argument)
{
  for(;;)
  {
    osDelay(1);
  }
}

__weak void RgbTask_Entry(void const * argument)
{
  for(;;)
  {
    osDelay(1);
  }
}

__weak void KinematicsTask_Entry(void const * argument)
{
  for(;;)
  {
    osDelay(1);
  }
}
